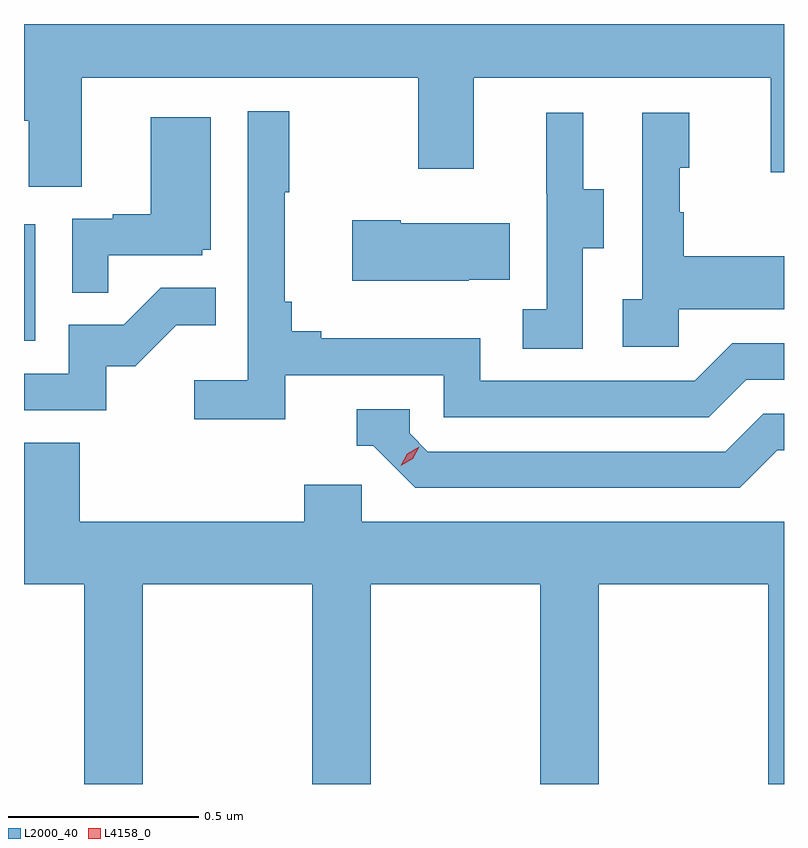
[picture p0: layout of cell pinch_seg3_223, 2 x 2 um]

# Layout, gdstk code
import gdstk
lib = gdstk.Library(unit=1e-6, precision=1e-09)
def R(c, l, rs):  # rectangles x0, y0, x1, y1
    for r in rs: c.add(gdstk.rectangle(r[:2], r[2:], *l))
def P(c, l, *ps):  # polygons
    for p in ps: c.add(gdstk.Polygon(p, *l))
L2000_40 = (2000, 40)
L4158_0 = (4158, 0)

pinch_seg3_223 = lib.new_cell('pinch_seg3_223')
R(pinch_seg3_223, L2000_40, [(938.237,744.18,938.266,744.487)])
P(pinch_seg3_223, L2000_40, [(938.389,744.872),(939.274,744.872),(939.274,744.633),(939.421,744.633),(939.421,744.872),(940.202,744.872),(940.202,744.624),(940.237,744.624),(940.237,745.014),(938.237,745.014),(938.237,744.76),(938.249,744.76),(938.249,744.586),(938.389,744.586)],
  [(938.924,744.09),(939.342,744.09),(939.342,743.979),(940.039,743.979),(940.138,744.078),(940.237,744.078),(940.237,744.174),(940.101,744.174),(940.002,744.075),(939.438,744.075),(939.438,744.187),(939.019,744.187),(939.019,744.206),(938.942,744.206),(938.942,744.283),(938.923,744.283),(938.923,744.571),(938.935,744.571),(938.935,744.784),(938.826,744.784),(938.826,744.076),(938.685,744.076),(938.685,743.974),(938.924,743.974)],
  [(939.96,744.263),(940.237,744.263),(940.237,744.403),(939.973,744.403),(939.973,744.518),(939.963,744.518),(939.963,744.636),(939.988,744.636),(939.988,744.781),(939.864,744.781),(939.864,744.29),(939.813,744.29),(939.813,744.165),(939.96,744.165)],
  [(939.708,744.424),(939.763,744.424),(939.763,744.579),(939.709,744.579),(939.709,744.781),(939.611,744.781),(939.611,744.567),(939.612,744.567),(939.612,744.263),(939.549,744.263),(939.549,744.16),(939.708,744.16)],
  [(938.459,744.405),(938.706,744.405),(938.706,744.42),(938.728,744.42),(938.728,744.769),(938.57,744.769),(938.57,744.514),(938.471,744.514),(938.471,744.501),(938.364,744.501),(938.364,744.307),(938.459,744.307)],
  [(939.407,744.341),(939.515,744.341),(939.515,744.49),(939.229,744.49),(939.229,744.498),(939.101,744.498),(939.101,744.338),(939.407,744.338)],
  [(938.454,744.114),(938.53,744.114),(938.637,744.221),(938.741,744.221),(938.741,744.32),(938.597,744.32),(938.499,744.222),(938.355,744.222),(938.355,744.093),(938.237,744.093),(938.237,743.997),(938.454,743.997)],
  [(940.219,743.892),(940.237,743.892),(940.237,743.988),(940.182,743.988),(940.083,743.889),(939.3,743.889),(939.252,743.937),(939.252,744),(939.113,744),(939.113,743.904),(939.156,743.904),(939.267,743.793),(940.12,743.793)],
  [(938.55,743.54),(938.995,743.54),(938.995,743.014),(939.15,743.014),(939.15,743.54),(939.595,743.54),(939.595,743.014),(939.75,743.014),(939.75,743.54),(940.195,743.54),(940.195,743.014),(940.237,743.014),(940.237,743.704),(939.126,743.704),(939.126,743.802),(938.975,743.802),(938.975,743.704),(938.384,743.704),(938.384,743.912),(938.237,743.912),(938.237,743.54),(938.395,743.54),(938.395,743.014),(938.55,743.014)])
P(pinch_seg3_223, L4158_0, [(939.229,743.851),(939.229,743.851),(939.246,743.883),(939.277,743.902),(939.277,743.902),(939.277,743.902),(939.26,743.87),(939.229,743.851)])

lib.write_gds('pinch_seg3_223.gds')
